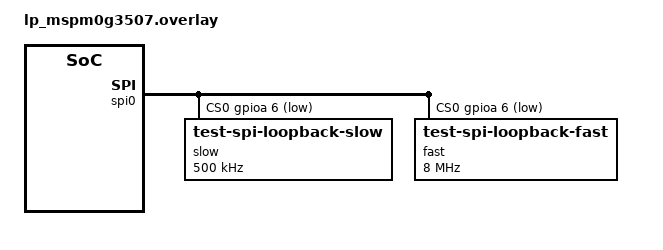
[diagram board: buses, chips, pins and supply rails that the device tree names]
/*
 * Copyright (c) 2026 Linumiz
 *
 * SPDX-License-Identifier: Apache-2.0
 */

&spi0 {
	cs-gpios = <&gpioa 6 GPIO_ACTIVE_LOW>;

	slow@0 {
		compatible = "test-spi-loopback-slow";
		reg = <0>;
		spi-max-frequency = <500000>;
	};

	fast@0 {
		compatible = "test-spi-loopback-fast";
		reg = <0>;
		spi-max-frequency = <8000000>;
	};
};

&gpioa {
	status = "okay";
};
